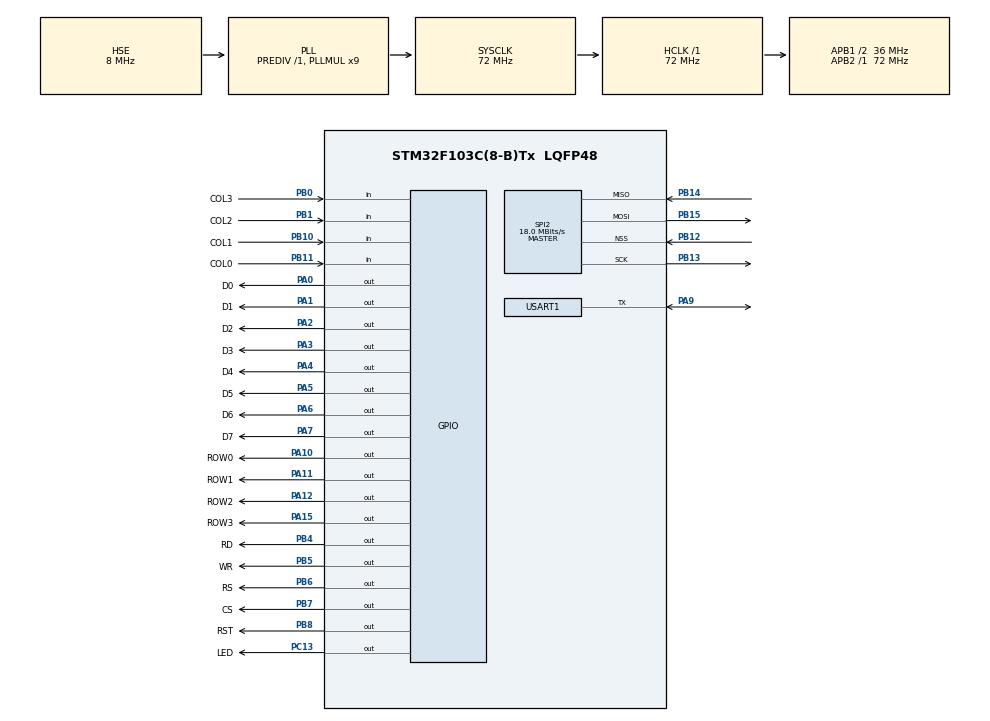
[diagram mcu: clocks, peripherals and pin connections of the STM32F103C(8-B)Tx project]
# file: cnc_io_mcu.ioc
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Mcu.Family=STM32F1
Mcu.Name=STM32F103C(8-B)Tx
Mcu.Package=LQFP48
NVIC.PriorityGroup=NVIC_PRIORITYGROUP_4
PA0-WKUP.GPIO_Label=D0
PA0-WKUP.GPIO_Speed=GPIO_SPEED_FREQ_HIGH
PA0-WKUP.Signal=GPIO_Output
PA1.GPIO_Label=D1
PA1.GPIO_Speed=GPIO_SPEED_FREQ_HIGH
PA1.Signal=GPIO_Output
PA10.GPIO_Label=ROW0
PA10.GPIO_PuPd=GPIO_PULLDOWN
PA10.GPIO_Speed=GPIO_SPEED_FREQ_LOW
PA10.Signal=GPIO_Output
PA11.GPIO_Label=ROW1
PA11.GPIO_PuPd=GPIO_PULLDOWN
PA11.GPIO_Speed=GPIO_SPEED_FREQ_LOW
PA11.Signal=GPIO_Output
PA12.GPIO_Label=ROW2
PA12.GPIO_PuPd=GPIO_PULLDOWN
PA12.Signal=GPIO_Output
PA13.Mode=Serial_Wire
PA13.Signal=SYS_JTMS-SWDIO
PA14.Mode=Serial_Wire
PA14.Signal=SYS_JTCK-SWCLK
PA15.GPIO_Label=ROW3
PA15.GPIO_PuPd=GPIO_PULLDOWN
PA15.Signal=GPIO_Output
PA2.GPIO_Label=D2
PA2.GPIO_Speed=GPIO_SPEED_FREQ_HIGH
PA2.Signal=GPIO_Output
PA3.GPIO_Label=D3
PA3.GPIO_Speed=GPIO_SPEED_FREQ_HIGH
PA3.Signal=GPIO_Output
PA4.GPIO_Label=D4
PA4.GPIO_Speed=GPIO_SPEED_FREQ_HIGH
PA4.Signal=GPIO_Output
PA5.GPIO_Label=D5
PA5.GPIO_Speed=GPIO_SPEED_FREQ_HIGH
PA5.Signal=GPIO_Output
PA6.GPIO_Label=D6
PA6.GPIO_Speed=GPIO_SPEED_FREQ_HIGH
PA6.Signal=GPIO_Output
PA7.GPIO_Label=D7
PA7.GPIO_Speed=GPIO_SPEED_FREQ_HIGH
PA7.Signal=GPIO_Output
PA9.Mode=Half_duplex(single_wire_mode)
PA9.Signal=USART1_TX
PB0.GPIO_Label=COL3
PB0.GPIO_PuPd=GPIO_PULLDOWN
PB0.Signal=GPIO_Input
PB1.GPIO_Label=COL2
PB1.GPIO_PuPd=GPIO_PULLDOWN
PB1.Signal=GPIO_Input
PB10.GPIO_Label=COL1
PB10.GPIO_PuPd=GPIO_PULLDOWN
PB10.Signal=GPIO_Input
PB11.GPIO_Label=COL0
PB11.GPIO_PuPd=GPIO_PULLDOWN
PB11.Signal=GPIO_Input
PB12.Mode=NSS_Signal_Hard_Input
PB12.Signal=SPI2_NSS
PB13.Mode=Full_Duplex_Master
PB13.Signal=SPI2_SCK
PB14.Mode=Full_Duplex_Master
PB14.Signal=SPI2_MISO
PB15.Mode=Full_Duplex_Master
PB15.Signal=SPI2_MOSI
PB4.GPIO_Label=RD
PB4.GPIO_Speed=GPIO_SPEED_FREQ_HIGH
PB4.Signal=GPIO_Output
PB5.GPIO_Label=WR
PB5.GPIO_Speed=GPIO_SPEED_FREQ_HIGH
PB5.Signal=GPIO_Output
PB6.GPIO_Label=RS
PB6.GPIO_Speed=GPIO_SPEED_FREQ_HIGH
PB6.Signal=GPIO_Output
PB7.GPIO_Label=CS
PB7.GPIO_Speed=GPIO_SPEED_FREQ_HIGH
PB7.Signal=GPIO_Output
PB8.GPIO_Label=RST
PB8.GPIO_Speed=GPIO_SPEED_FREQ_HIGH
PB8.Signal=GPIO_Output
PC13-TAMPER-RTC.GPIO_Label=LED
PC13-TAMPER-RTC.Signal=GPIO_Output
PC14-OSC32_IN.Mode=LSE-External-Oscillator
PC14-OSC32_IN.Signal=RCC_OSC32_IN
PC15-OSC32_OUT.Mode=LSE-External-Oscillator
PC15-OSC32_OUT.Signal=RCC_OSC32_OUT
PD0-OSC_IN.Mode=HSE-External-Oscillator
PD0-OSC_IN.Signal=RCC_OSC_IN
PD1-OSC_OUT.Mode=HSE-External-Oscillator
PD1-OSC_OUT.Signal=RCC_OSC_OUT
ProjectManager.HeapSize=0x200
ProjectManager.StackSize=0x400
ProjectManager.TargetToolchain=STM32CubeIDE
RCC.AHBFreq_Value=72000000
RCC.APB1CLKDivider=RCC_HCLK_DIV2
RCC.APB1Freq_Value=36000000
RCC.APB1TimFreq_Value=72000000
RCC.APB2Freq_Value=72000000
RCC.APB2TimFreq_Value=72000000
RCC.HCLKFreq_Value=72000000
RCC.PLLMUL=RCC_PLL_MUL9
RCC.PLLSourceVirtual=RCC_PLLSOURCE_HSE
RCC.SYSCLKFreq_VALUE=72000000
RCC.SYSCLKSource=RCC_SYSCLKSOURCE_PLLCLK
RCC.USBFreq_Value=48000000
RCC.USBPrescaler=RCC_USBCLKSOURCE_PLL_DIV1_5
SPI2.BaudRatePrescaler=SPI_BAUDRATEPRESCALER_2
SPI2.CalculateBaudRate=18.0 MBits/s
SPI2.Direction=SPI_DIRECTION_2LINES
SPI2.Mode=SPI_MODE_MASTER
SPI2.VirtualNSS=VM_NSSHARD
SPI2.VirtualType=VM_MASTER
USART1.VirtualMode=VM_ASYNC
board=custom

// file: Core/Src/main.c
/* USER CODE BEGIN Header */
/**
 ******************************************************************************
 * @file           : main.c
 * @brief          : Main program body
 ******************************************************************************
 * @attention
 *
 * <h2><center>&copy; Copyright (c) 2020 STMicroelectronics.
 * All rights reserved.</center></h2>
 *
 * This software component is licensed by ST under BSD 3-Clause license,
 * the "License"; You may not use this file except in compliance with the
 * License. You may obtain a copy of the License at:
 *                        opensource.org/licenses/BSD-3-Clause
 *
 ******************************************************************************
 */
/* USER CODE END Header */
#include "main.h"

/* USER CODE BEGIN Includes */

#include "ILI9341.h"
#include "keyboard.h"

/* USER CODE END Includes */

SPI_HandleTypeDef hspi2;

UART_HandleTypeDef huart1;

void SystemClock_Config(void);
static void MX_GPIO_Init(void);
static void MX_SPI2_Init(void);
static void MX_USART1_UART_Init(void);

/* USER CODE BEGIN 0 */

#if TEST_TFT_AT_STARTUP
void test_RGB()
{
    ILI9341_fill(Red);
    HAL_Delay(600);
    ILI9341_fill(Green);
    HAL_Delay(600);
    ILI9341_fill(Blue);
    HAL_Delay(600);
    ILI9341_fill(Black);
}

void test_colours()
{
    ILI9341_draw_rectangle(0, 0, 319, 23, YES, SQUARE, Grey, Grey);
    ILI9341_draw_rectangle(0, 23, 319, 47, YES, SQUARE, White, White);
    ILI9341_draw_rectangle(0, 47, 319, 71, YES, SQUARE, Cyan, Cyan);
    ILI9341_draw_rectangle(0, 71, 319, 95, YES, SQUARE, Light_Blue, Light_Blue);
    ILI9341_draw_rectangle(0, 95, 319, 119, YES, SQUARE, Blue, Blue);
    ILI9341_draw_rectangle(0, 119, 319, 143, YES, SQUARE, Green, Green);
    ILI9341_draw_rectangle(0, 143, 319, 167, YES, SQUARE, Yellow, Yellow);
    ILI9341_draw_rectangle(0, 167, 319, 191, YES, SQUARE, Magenta, Magenta);
    ILI9341_draw_rectangle(0, 191, 319, 215, YES, SQUARE, Red, Red);
    ILI9341_draw_rectangle(0, 215, 319, 239, YES, SQUARE, Black, Black);
    HAL_Delay(2600);
    ILI9341_fill(Black);
}

void test_2D_graphics()
{
    signed int i = 0;

    ILI9341_fill(Black);

    for(i = 0; i <= 320; i += 10)
    {
        ILI9341_draw_v_line(i, 0, 240, White);
    }
    for(i = 0; i <= 240; i += 10)
    {
        ILI9341_draw_h_line(0, 320, i, White);
    }

    HAL_Delay(3000);

    ILI9341_fill(Black);
    for(i = 0; i < 240; i += 5)
    {
        ILI9341_draw_line(0, 0, 319, i, Light_Blue);
    }

    for(i = 239; i > -1; i -= 5)
    {
        ILI9341_draw_line(319, 240, 0, i, Blue);
    }

    HAL_Delay(3000);

    ILI9341_fill(Black);

    ILI9341_draw_rectangle(9, 19, 309, 199, NO, ROUND, Magenta, Black);
    ILI9341_draw_rectangle(19, 29, 299, 189, YES, SQUARE, Cyan, Black);

    HAL_Delay(4000);

    ILI9341_fill(Black);

    ILI9341_draw_circle(159, 119, 80, NO, Red);
    ILI9341_draw_circle(159, 119, 40, YES, Yellow);

    HAL_Delay(3000);

    ILI9341_fill(Black);

    ILI9341_draw_triangle(10, 200, 309, 200, 149, 19, NO, Green);
    HAL_Delay(400);
    ILI9341_draw_triangle(10, 200, 309, 200, 149, 19, YES, Grey);

    HAL_Delay(3000);

    ILI9341_fill(Black);
}

void draw_flag()
{
    ILI9341_draw_rectangle(20, 20, 299, 219, YES, SQUARE, Green, Green);
    ILI9341_draw_circle(160, 120, 60, YES, Red);
    HAL_Delay(6000);
    ILI9341_fill(Black);
}

void print_test_data()
{
    unsigned char s = 0;
    signed char c = -9;

    signed int i = -9;

    float f = -9.9;

    ILI9341_print_str(16, 10, 1, Red, Black, "MicroArena");
    ILI9341_print_str(16, 30, 2, Green, Black, "MicroArena");
    ILI9341_print_str(16, 60, 3, Blue, Black, "MicroArena");
    ILI9341_print_str(16, 90, 1, White, Black, "https://www.facebook.com/MicroArena");

    for(s = 0; s < 250; s++)
    {
        ILI9341_print_c(22, 150, 1, Red, Black, c);
        ILI9341_print_i(22, 175, 2, Green, Black, i);
        ILI9341_print_f(22, 210, 3, Blue, Black, f, 1);

        c++;
        i++;
        f += 0.1;

        HAL_Delay(45);
    }
    ILI9341_fill(Black);
}
#endif

/* USER CODE END 0 */

int main(void)
{

  /* MCU Configuration--------------------------------------------------------*/

  /* Reset of all peripherals, Initializes the Flash interface and the Systick. */
  HAL_Init();

  /* Configure the system clock */
  SystemClock_Config();

  /* Initialize all configured peripherals */
  MX_GPIO_Init();
  MX_SPI2_Init();
  MX_USART1_UART_Init();
  /* USER CODE BEGIN 2 */

    ILI9341_init();
    ILI9341_set_rotation(LANDSCAPE_1);

#if TEST_TFT_AT_STARTUP
    ILI9341_fill(White);
    test_RGB();
    print_test_data();
    test_colours();
    test_2D_graphics();
    draw_flag();
#endif

    int c = 0;
    ILI9341_fill(Black);
  /* USER CODE END 2 */

  /* Infinite loop */
    while (1)
    {

    /* USER CODE BEGIN 3 */
        c += 12345;
        //ILI9341_printf_tft("deadbeef %d", White, Black, c);
        int ret = Keyboard_get_key();
        if (ret != -1) {
            //ILI9341_printf_tft("key pressed %X", White, Black, ret);
            switch(ret) {
                case KEY_0:
                    ILI9341_printf_tft2("key 0\t %X", White, Black, ret);
                    break;
                case KEY_1:
                    ILI9341_printf_tft2("key 1\n\t %X", White, Black, ret);
                    break;
                case KEY_2:
                    ILI9341_printf_tft2("key 2 %X", White, Black, ret);
                    break;
                case KEY_3:
                    ILI9341_printf_tft2("key 3 %X", White, Black, ret);
                    break;
                case KEY_4:
                    ILI9341_printf_tft2("key 4 %X", White, Black, ret);
                    break;
                case KEY_5:
                    ILI9341_printf_tft2_xy(30, 110, "key 5 %X", White, Black, ret);
                    break;
                case KEY_6:
                    ILI9341_printf_tft2_xy(160, 60, "key 6 %X", White, Black, ret);
                    break;
                case KEY_7:
                    ILI9341_printf_tft2_xy(10, 180, "key 7 %X", White, Black, ret);
                    break;
                case KEY_8:
                    ILI9341_printf_tft("key 8 %X", White, Black, ret);
                    break;
                case KEY_9:
                    ILI9341_printf_tft("key 9 %X", White, Black, ret);
                    break;
                case KEY_A:
                    ILI9341_printf_tft("key A %X", White, Black, ret);
                    break;
                case KEY_B:
                    ILI9341_printf_tft("key B %X", White, Black, ret);
                    break;
                case KEY_C:
                    ILI9341_printf_tft("key C %X", White, Black, ret);
                    break;
                case KEY_D:
                    ILI9341_printf_tft("key D %X", White, Black, ret);
                    break;
                case KEY_STAR:
                    ILI9341_printf_tft("key * %X", White, Black, ret);
                    break;
                case KEY_DIES:
                    ILI9341_printf_tft("key # %X", White, Black, ret);
                    break;
            }
        } else {
            //ILI9341_printf_tft("deadbeef %d", White, Black, c);
        }
        HAL_Delay(100);
        HAL_GPIO_TogglePin(LED_GPIO_Port, LED_Pin);
    }
  /* USER CODE END 3 */
}

void SystemClock_Config(void)
{
  RCC_OscInitTypeDef RCC_OscInitStruct = {0};
  RCC_ClkInitTypeDef RCC_ClkInitStruct = {0};

  /** Initializes the RCC Oscillators according to the specified parameters
  * in the RCC_OscInitTypeDef structure.
  */
  RCC_OscInitStruct.OscillatorType = RCC_OSCILLATORTYPE_HSE;
  RCC_OscInitStruct.HSEState = RCC_HSE_ON;
  RCC_OscInitStruct.HSEPredivValue = RCC_HSE_PREDIV_DIV1;
  RCC_OscInitStruct.HSIState = RCC_HSI_ON;
  RCC_OscInitStruct.PLL.PLLState = RCC_PLL_ON;
  RCC_OscInitStruct.PLL.PLLSource = RCC_PLLSOURCE_HSE;
  RCC_OscInitStruct.PLL.PLLMUL = RCC_PLL_MUL9;
  if (HAL_RCC_OscConfig(&RCC_OscInitStruct) != HAL_OK)
  {
    Error_Handler();
  }
  /** Initializes the CPU, AHB and APB buses clocks
  */
  RCC_ClkInitStruct.ClockType = RCC_CLOCKTYPE_HCLK|RCC_CLOCKTYPE_SYSCLK
                              |RCC_CLOCKTYPE_PCLK1|RCC_CLOCKTYPE_PCLK2;
  RCC_ClkInitStruct.SYSCLKSource = RCC_SYSCLKSOURCE_PLLCLK;
  RCC_ClkInitStruct.AHBCLKDivider = RCC_SYSCLK_DIV1;
  RCC_ClkInitStruct.APB1CLKDivider = RCC_HCLK_DIV2;
  RCC_ClkInitStruct.APB2CLKDivider = RCC_HCLK_DIV1;

  if (HAL_RCC_ClockConfig(&RCC_ClkInitStruct, FLASH_LATENCY_2) != HAL_OK)
  {
    Error_Handler();
  }
}

static void MX_SPI2_Init(void)
{

  /* SPI2 parameter configuration*/
  hspi2.Instance = SPI2;
  hspi2.Init.Mode = SPI_MODE_MASTER;
  hspi2.Init.Direction = SPI_DIRECTION_2LINES;
  hspi2.Init.DataSize = SPI_DATASIZE_8BIT;
  hspi2.Init.CLKPolarity = SPI_POLARITY_LOW;
  hspi2.Init.CLKPhase = SPI_PHASE_1EDGE;
  hspi2.Init.NSS = SPI_NSS_HARD_INPUT;
  hspi2.Init.BaudRatePrescaler = SPI_BAUDRATEPRESCALER_2;
  hspi2.Init.FirstBit = SPI_FIRSTBIT_MSB;
  hspi2.Init.TIMode = SPI_TIMODE_DISABLE;
  hspi2.Init.CRCCalculation = SPI_CRCCALCULATION_DISABLE;
  hspi2.Init.CRCPolynomial = 10;
  if (HAL_SPI_Init(&hspi2) != HAL_OK)
  {
    Error_Handler();
  }

}

static void MX_USART1_UART_Init(void)
{

  huart1.Instance = USART1;
  huart1.Init.BaudRate = 115200;
  huart1.Init.WordLength = UART_WORDLENGTH_8B;
  huart1.Init.StopBits = UART_STOPBITS_1;
  huart1.Init.Parity = UART_PARITY_NONE;
  huart1.Init.Mode = UART_MODE_TX_RX;
  huart1.Init.HwFlowCtl = UART_HWCONTROL_NONE;
  huart1.Init.OverSampling = UART_OVERSAMPLING_16;
  if (HAL_HalfDuplex_Init(&huart1) != HAL_OK)
  {
    Error_Handler();
  }

}

static void MX_GPIO_Init(void)
{
  GPIO_InitTypeDef GPIO_InitStruct = {0};

  /* GPIO Ports Clock Enable */
  __HAL_RCC_GPIOC_CLK_ENABLE();
  __HAL_RCC_GPIOD_CLK_ENABLE();
  __HAL_RCC_GPIOA_CLK_ENABLE();
  __HAL_RCC_GPIOB_CLK_ENABLE();

  /*Configure GPIO pin Output Level */
  HAL_GPIO_WritePin(LED_GPIO_Port, LED_Pin, GPIO_PIN_RESET);

  /*Configure GPIO pin Output Level */
  HAL_GPIO_WritePin(GPIOA, D0_Pin|D1_Pin|D2_Pin|D3_Pin
                          |D4_Pin|D5_Pin|D6_Pin|D7_Pin
                          |ROW0_Pin|ROW1_Pin|ROW2_Pin|ROW3_Pin, GPIO_PIN_RESET);

  /*Configure GPIO pin Output Level */
  HAL_GPIO_WritePin(GPIOB, RD_Pin|WR_Pin|RS_Pin|CS_Pin
                          |RST_Pin, GPIO_PIN_RESET);

  /*Configure GPIO pin : LED_Pin */
  GPIO_InitStruct.Pin = LED_Pin;
  GPIO_InitStruct.Mode = GPIO_MODE_OUTPUT_PP;
  GPIO_InitStruct.Pull = GPIO_NOPULL;
  GPIO_InitStruct.Speed = GPIO_SPEED_FREQ_LOW;
  HAL_GPIO_Init(LED_GPIO_Port, &GPIO_InitStruct);

  /*Configure GPIO pins : D0_Pin D1_Pin D2_Pin D3_Pin
                           D4_Pin D5_Pin D6_Pin D7_Pin */
  GPIO_InitStruct.Pin = D0_Pin|D1_Pin|D2_Pin|D3_Pin
                          |D4_Pin|D5_Pin|D6_Pin|D7_Pin;
  GPIO_InitStruct.Mode = GPIO_MODE_OUTPUT_PP;
  GPIO_InitStruct.Pull = GPIO_NOPULL;
  GPIO_InitStruct.Speed = GPIO_SPEED_FREQ_HIGH;
  HAL_GPIO_Init(GPIOA, &GPIO_InitStruct);

  /*Configure GPIO pins : COL3_Pin COL2_Pin COL1_Pin COL0_Pin */
  GPIO_InitStruct.Pin = COL3_Pin|COL2_Pin|COL1_Pin|COL0_Pin;
  GPIO_InitStruct.Mode = GPIO_MODE_INPUT;
  GPIO_InitStruct.Pull = GPIO_PULLDOWN;
  HAL_GPIO_Init(GPIOB, &GPIO_InitStruct);

  /*Configure GPIO pins : ROW0_Pin ROW1_Pin ROW2_Pin ROW3_Pin */
  GPIO_InitStruct.Pin = ROW0_Pin|ROW1_Pin|ROW2_Pin|ROW3_Pin;
  GPIO_InitStruct.Mode = GPIO_MODE_OUTPUT_PP;
  GPIO_InitStruct.Pull = GPIO_PULLDOWN;
  GPIO_InitStruct.Speed = GPIO_SPEED_FREQ_LOW;
  HAL_GPIO_Init(GPIOA, &GPIO_InitStruct);

  /*Configure GPIO pins : RD_Pin WR_Pin RS_Pin CS_Pin
                           RST_Pin */
  GPIO_InitStruct.Pin = RD_Pin|WR_Pin|RS_Pin|CS_Pin
                          |RST_Pin;
  GPIO_InitStruct.Mode = GPIO_MODE_OUTPUT_PP;
  GPIO_InitStruct.Pull = GPIO_NOPULL;
  GPIO_InitStruct.Speed = GPIO_SPEED_FREQ_HIGH;
  HAL_GPIO_Init(GPIOB, &GPIO_InitStruct);

}

void Error_Handler(void)
{
}

/************************ (C) COPYRIGHT STMicroelectronics *****END OF FILE****/
